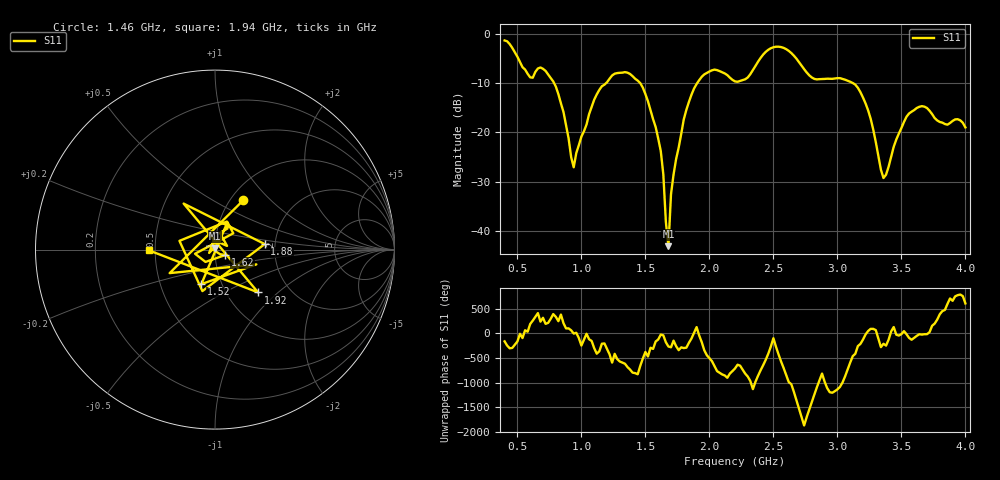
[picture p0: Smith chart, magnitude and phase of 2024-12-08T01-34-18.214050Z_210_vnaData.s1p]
!Created with skrf (http://scikit-rf.org).
# Hz S RI R 50.0
!freq ReS11 ImS11
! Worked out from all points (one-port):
!   181 points, 400 MHz to 4 GHz, reference 50 ohm
!   lowest |S11| = -43.1 dB at 1.68 GHz (marker M1), VSWR 1.01, Z = 50 + j0.702 ohm
!   |S11| at or under -10 dB: 786.8 MHz to 1.192 GHz (405.6 MHz wide, 41 % of centre); 1.46 GHz to 1.904 GHz (444.3 MHz wide, 26.4 % of centre); 3.122 GHz to end of sweep
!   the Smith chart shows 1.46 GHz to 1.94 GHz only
!   S11 on the Smith chart (normalised r, x): 1.46 GHz: 1.15, +0.70; 1.52 GHz: 0.80, -0.32; 1.62 GHz: 1.12, -0.07; 1.88 GHz: 1.76, +0.12; 1.92 GHz: 1.40, -0.75; 1.94 GHz: 0.46, -0.01
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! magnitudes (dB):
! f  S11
! 400 MHz  -1.3
! 600 MHz  -8.8
! 720 MHz  -7.5
! 860 MHz  -15.8
! 940 MHz  -27.1
! 1.12 GHz  -12.3
! 1.3 GHz  -7.9
! 1.46 GHz  -10.0
! 1.52 GHz  -13.7
! 1.62 GHz  -23.8
! 1.68 GHz  -43.1
! 1.7 GHz  -32.5
! 1.76 GHz  -23.1
! 1.8 GHz  -17.3
! 1.88 GHz  -11.1
! 1.92 GHz  -9.4
! 1.94 GHz  -8.7
! 2.04 GHz  -7.3
! 2.2 GHz  -9.6
! 2.48 GHz  -2.9
! 2.66 GHz  -4.4
! 2.82 GHz  -9.1
! 3.1 GHz  -9.7
! 3.24 GHz  -15.5
! 3.36 GHz  -29.2
! 3.56 GHz  -16.2
! 3.68 GHz  -14.8
! 4 GHz  -19.0
